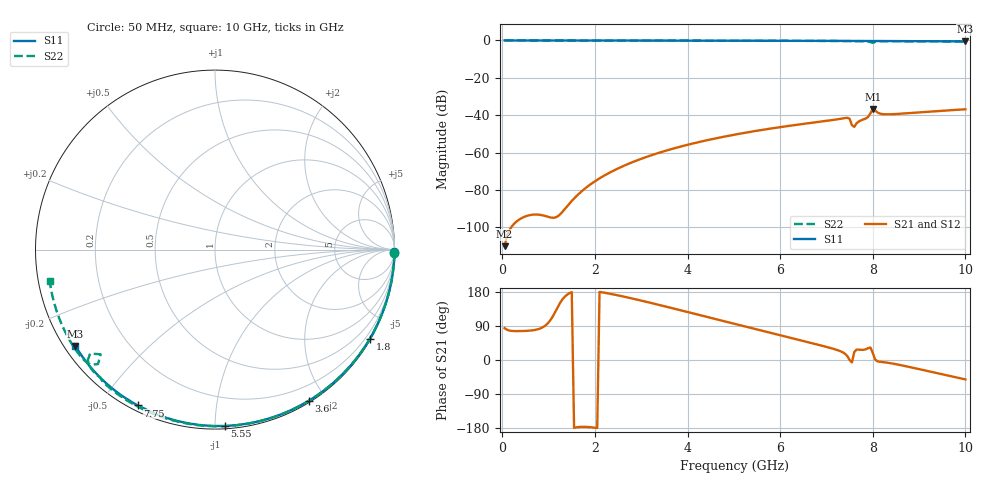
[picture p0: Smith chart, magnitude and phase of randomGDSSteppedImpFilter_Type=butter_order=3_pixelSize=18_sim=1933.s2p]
! freq	dB(S11)	phase(S11)	dB(S12)	phase(S12)
!  dB(S21)	phase(S21)	dB(S22)	phase(S22)
!S-par simulation data
#  GHz  S  DB  R 50
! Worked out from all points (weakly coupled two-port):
!   200 points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, 50 MHz to 10 GHz, reference 50 ohm
!   highest |S21| = -36.65 dB at 8 GHz (marker M1); lowest = -110.1 dB at 50 MHz (marker M2)
!   lowest |S11| = -0.5 dB at 10 GHz (marker M3), VSWR 35.45, Z = 1.55 - j15.6 ohm
!   |S11| at or under -10 dB: nowhere
!   |S22| runs from -1.3 to 0.0 dB; largest |S21 - S12| = 0
!   S11 on the Smith chart (normalised r, x): 50 MHz: open; 1.8 GHz: 0.03, -3.75; 3.6 GHz: 0.02, -1.79; 5.55 GHz: 0.02, -1.06; 7.75 GHz: 0.02, -0.62; 10 GHz: 0.03, -0.31
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0.05  -0.00 -0.8  -110.09 84.1  -110.09 84.1  -0.00 -1.0
0.85  -0.02 -14.3  -93.47 84.9  -93.47 84.9  -0.02 -16.6
1.75  -0.04 -29.1  -79.97 -176.4  -79.97 -176.4  -0.04 -33.8
1.8  -0.04 -29.9  -78.96 -176.5  -78.96 -176.5  -0.04 -34.8
2.5  -0.05 -41.1  -68.48 170.5  -68.48 170.5  -0.06 -47.8
3.4  -0.07 -55.2  -59.99 144.9  -59.99 144.9  -0.08 -64.0
3.6  -0.08 -58.3  -58.50 138.9  -58.50 138.9  -0.09 -67.5
5.05  -0.12 -79.7  -50.25 94.3  -50.25 94.3  -0.14 -92.0
5.55  -0.14 -86.8  -48.11 79.0  -48.11 79.0  -0.16 -100.2
6.7  -0.20 -102.5  -44.00 44.0  -44.00 44.0  -0.23 -118.4
7.45  -0.25 -112.5  -41.38 10.5  -41.38 10.5  -0.31 -130.5
7.5  -0.26 -113.2  -41.88 -0.3  -41.88 -0.3  -0.35 -131.4
7.55  -0.27 -113.8  -45.35 -6.4  -45.35 -6.4  -0.39 -132.0
7.6  -0.27 -114.4  -46.23 20.9  -46.23 20.9  -0.37 -132.6
7.65  -0.27 -115.1  -44.33 27.5  -44.33 27.5  -0.35 -133.4
7.75  -0.27 -116.4  -42.72 26.8  -42.72 26.8  -0.37 -135.4
7.9  -0.28 -118.3  -40.91 31.2  -40.91 31.2  -0.55 -139.0
8  -0.29 -119.6  -36.65 18.7  -36.65 18.7  -1.27 -137.5
8.05  -0.29 -120.3  -37.40 1.4  -37.40 1.4  -0.80 -135.6
8.15  -0.30 -121.6  -39.11 -4.6  -39.11 -4.6  -0.45 -138.4
8.35  -0.32 -124.1  -39.52 -7.7  -39.52 -7.7  -0.39 -142.5
10  -0.49 -145.4  -36.84 -51.2  -36.84 -51.2  -0.56 -169.1
